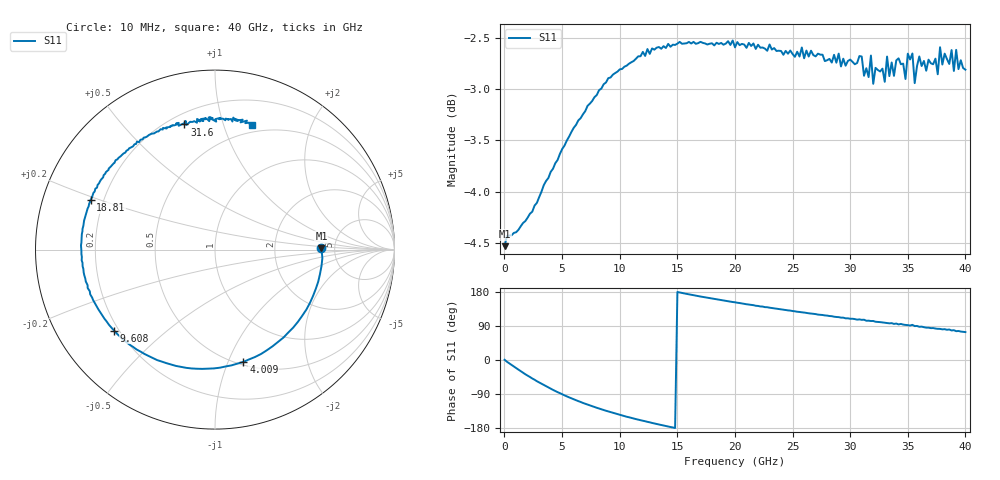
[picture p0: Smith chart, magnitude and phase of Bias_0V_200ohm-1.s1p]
!Agilent Technologies,N5227A,US51270434,A.10.00.00
!Agilent N5227A: A.10.00.00
!Date: Monday, March 30, 2026 11:35:00
!Correction: S11(Full 1 Port(1))
!S1P File: Measurement: S11:
# Hz S  dB  R 50
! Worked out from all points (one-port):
!   201 points, 10 MHz to 40 GHz, reference 50 ohm
!   lowest |S11| = -4.5 dB at 10 MHz (marker M1), VSWR 3.92, Z = 196 + j3.77 ohm
!   |S11| at or under -10 dB: nowhere
!   S11 on the Smith chart (normalised r, x): 10 MHz: 3.92, +0.08; 4.009 GHz: 0.53, -1.14; 9.608 GHz: 0.18, -0.34; 18.81 GHz: 0.15, +0.19; 31.6 GHz: 0.26, +0.75; 40 GHz: 0.43, +1.24
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1e7  -4.54 0.6
8.098e8  -4.41 -17.2
1.80955e9  -4.29 -37.7
2.8093e9  -4.11 -55.9
4.009e9  -3.81 -75.8
5.00875e9  -3.58 -90.5
6.0085e9  -3.38 -103.6
7.2082e9  -3.16 -117.7
9.6076e9  -2.84 -141.3
1.00075e10  -2.80 -144.6
1.24069e10  -2.60 -163.2
1.500625e10  -2.55 179.5
1.88053e10  -2.54 158.1
2.0005e10  -2.59 152.3
2.220445e10  -2.59 141.3
2.500375e10  -2.65 129.2
3.00025e10  -2.71 108.8
3.16021e10  -2.88 103.8
3.32017e10  -2.68 97.8
3.48013e10  -2.90 92.6
3.500125e10  -2.65 92.1
3.52012e10  -2.71 91.0
3.540115e10  -2.65 92.8
3.56011e10  -2.94 89.4
3.6001e10  -2.68 87.6
3.860035e10  -2.75 80.5
3.92002e10  -2.61 76.1
4e10  -2.81 73.7
